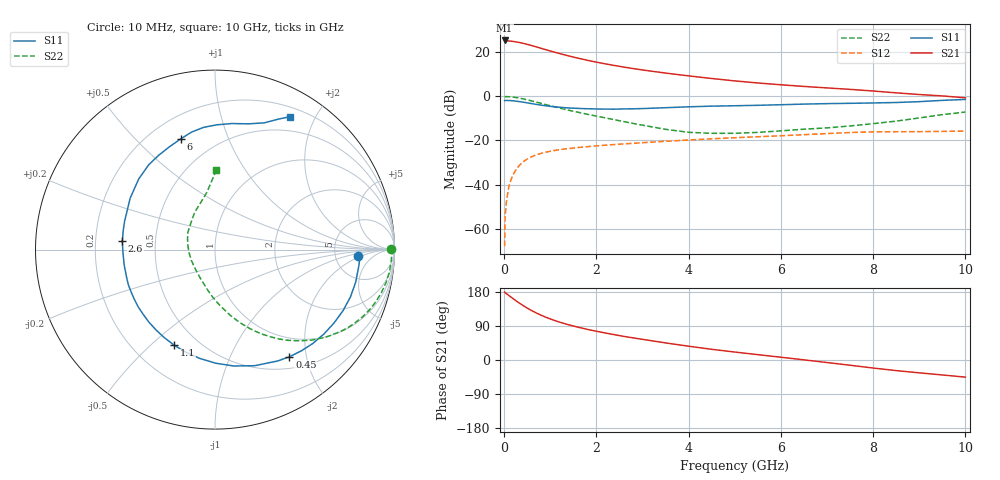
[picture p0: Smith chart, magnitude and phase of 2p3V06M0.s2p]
! (c) 2009  Infineon Technologies AG, Munich
! Infineon Technologies  Discrete & RF Semiconductors
! BFP420
! VCE =  3.0 V,  IC =  6.0 mA
! Common Emitter S-Parameters:  Nov 2009
# GHz  S  MA  R  50
!  f  S11  S21  S12  S22
! GHz  MAG  ANG  MAG  ANG  MAG  ANG  MAG  ANG
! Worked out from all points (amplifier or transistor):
!   46 points, 10 MHz to 10 GHz, reference 50 ohm
!   highest |S21| = 25.4 dB at 10 MHz (marker M1)
!   |S21| within 3 dB of that: start of sweep to 710.7 MHz
!   unconditionally stable (mu >= 1): 2.832 GHz to end of sweep
!   at 300 MHz: K = 0.12, MSG = 28.3 dB, |S12| = -32.1 dB
!   at 1.7 GHz: K = 0.65, MSG = 19.9 dB, |S12| = -23.0 dB
!   at 10 GHz: K = 1.11, MAG = 5.5 dB, |S12| = -15.8 dB
!   lowest NFmin = 0.70 dB at 900 MHz
!   S11 on the Smith chart (normalised r, x): 10 MHz: 8.64, -1.60; 450 MHz: 0.68, -1.71; 1.1 GHz: 0.37, -0.59; 2.6 GHz: 0.32, +0.04; 6 GHz: 0.32, +0.69; 10 GHz: 0.31, +1.67
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0.01  0.7988 -2.4  18.52 179.2  0.0004 93.5  0.982 0.3
0.02  0.8087 -2.6  18.06 178.0  0.0018 78.5  0.9853 -1.4
0.05  0.8069 -6.1  18.06 175.0  0.0041 82.7  0.9842 -3.6
0.15  0.7995 -19.2  17.84 165.9  0.0131 79.5  0.9706 -10.9
0.25  0.7789 -31.8  17.21 156.8  0.0211 73.7  0.9425 -17.9
0.35  0.7551 -43.9  16.49 148.6  0.0284 68.2  0.9033 -24.5
0.45  0.7269 -55.2  15.59 140.7  0.0349 63.1  0.8585 -30.5
0.6  0.6837 -71.1  14.16 130.1  0.0429 56.6  0.7863 -38.4
0.7  0.657 -80.8  13.21 123.9  0.0472 52.9  0.7386 -43.0
0.9  0.612 -98.1  11.47 113.1  0.0541 47.0  0.6517 -50.9
1.1  0.5788 -113.2  9.995 104.1  0.0594 42.7  0.5768 -57.4
1.4  0.5465 -132.5  8.252 92.9  0.0655 38.1  0.4849 -65.8
1.7  0.5278 -148.4  6.964 83.8  0.0706 34.8  0.4135 -72.8
2  0.517 -161.7  5.969 75.9  0.0752 32.4  0.3568 -79.0
2.6  0.5186 174.9  4.604 62.2  0.0836 28.3  0.2668 -92.4
3.5  0.5526 148.8  3.371 45.1  0.0956 23.4  0.1785 -117.5
4.5  0.5997 128.0  2.54 28.2  0.109 17.6  0.1449 -155.9
5.5  0.6266 113.9  2.011 14.1  0.1213 11.9  0.1524 172.1
6  0.6457 107.2  1.829 7.3  0.1277 9.1  0.1649 158.2
7  0.6838 95.4  1.552 -6.7  0.1432 2.4  0.1927 136.2
8.5  0.725 75.1  1.2 -28.0  0.1578 -12.0  0.2744 106.7
10  0.8511 60.5  0.927 -45.2  0.1631 -21.4  0.4408 89.1
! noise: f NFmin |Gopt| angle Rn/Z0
0.9  0.7  0.16  29  0.14
1.8  1.08  0.06  113  0.12
2.4  1.17  0.11  132  0.13
3  1.26  0.17  176  0.11
4  1.43  0.31  -139  0.13
5  1.82  0.38  -115  0.24
6  2.3  0.43  -99  0.37
